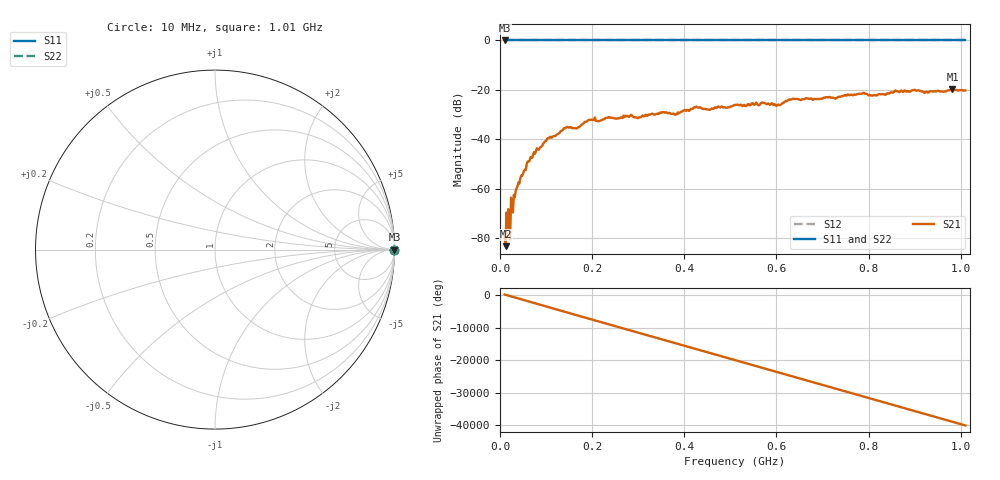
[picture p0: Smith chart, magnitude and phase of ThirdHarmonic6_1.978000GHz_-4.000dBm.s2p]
! 8/16/2025 11:47:07 PM
! C:\ANRITSUVNA\TEMP\TEMP.S2P
! CHANNEL.1
! TR.MEASUREMENT
! RAW.DATA
! RF.CORRECTION.OFF
! AVERAGING.OFF
! IF.BANDWIDTH: 5KHZ
! SWEEPTYPE:  FREQ.SWEEP(Linear)
! Reference Plane Port Info
! PORT:  PORT1  PORT2
! DISTANCE:  0  m  0  m
! TIME:  0  s  0  s
! PHASE.OFFSET:  0  deg.  0  deg.
! LOSS:  0  dB  0  dB
! REF.LOSS:  0  dB  0  dB
! REF.FREQ:  0  Hz  0  Hz
! Power Info
! POWER:  -20  dBm  -20  dBm
! EFF.POWER:  -20  dBm  -20  dBm
! SOURCE.ATTEN:  0  dB  0  dB
! TEST.ATTEN:  0  dB  0  dB
# GHZ S RI R 50.0
! FREQ.GHZ  S11RE  S11IM  S21RE  S21IM  S12RE  S12IM  S22RE  S22IM
!; PortSelection: Port_12
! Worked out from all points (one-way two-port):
!   501 points, 10 MHz to 1.01 GHz, reference 50 ohm
!   highest |S21| = -19.85 dB at 982 MHz (marker M1); lowest = -83.3 dB at 12 MHz (marker M2)
!   lowest |S11| = 0.0 dB at 10 MHz (marker M3)
!   |S11| at or under -10 dB: nowhere
!   |S22| runs from 0.0 to 0.0 dB; largest |S21 - S12| = 1.1
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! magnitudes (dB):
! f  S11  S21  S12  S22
! 10 MHz  0.0  -79.2  0.0  0.0
! 12 MHz  0.0  -83.3  0.0  0.0
! 16 MHz  0.0  -76.1  0.0  0.0
! 24 MHz  0.0  -63.7  0.0  0.0
! 28 MHz  0.0  -69.7  0.0  0.0
! 38 MHz  0.0  -59.0  0.0  0.0
! 70 MHz  0.0  -47.5  0.0  0.0
! 106 MHz  0.0  -39.6  0.0  0.0
! 142 MHz  0.0  -35.5  0.0  0.0
! 178 MHz  0.0  -34.0  0.0  0.0
! 202 MHz  0.0  -32.2  0.0  0.0
! 344 MHz  0.0  -29.8  0.0  0.0
! 380 MHz  0.0  -30.1  0.0  0.0
! 424 MHz  0.0  -27.1  0.0  0.0
! 452 MHz  0.0  -27.9  0.0  0.0
! 510 MHz  0.0  -26.1  0.0  0.0
! 604 MHz  0.0  -25.9  0.0  0.0
! 632 MHz  0.0  -23.9  0.0  0.0
! 678 MHz  0.0  -24.0  0.0  0.0
! 844 MHz  0.0  -21.5  0.0  0.0
! 982 MHz  0.0  -19.9  0.0  0.0
! 1.01 GHz  0.0  -20.2  0.0  0.0
